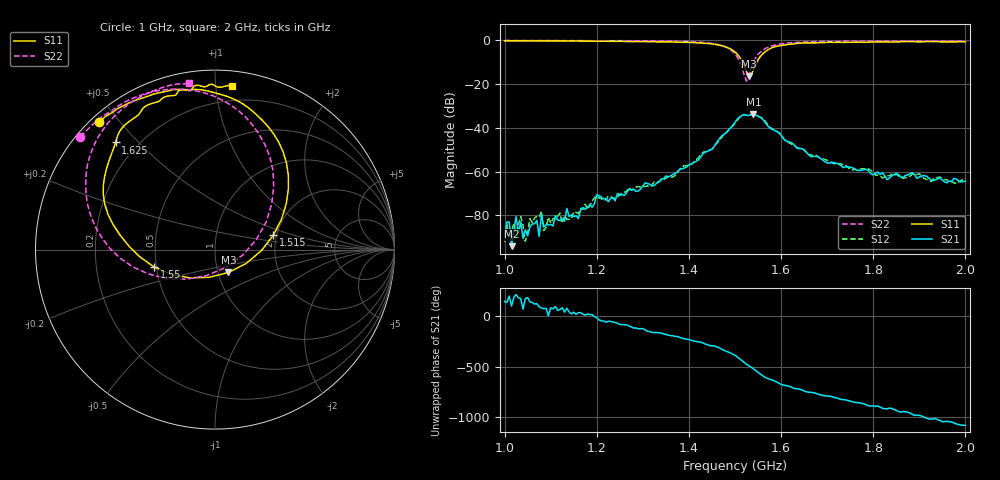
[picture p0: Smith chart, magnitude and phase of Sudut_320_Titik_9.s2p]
# Hz S RI R 50
! CMT, C1220, 16058040, 17.2.0/1
! Date: 14/08/2018 11:59:31
! Data: Format (Calibration Info)
! Freq  S11: Re/Im (F2)  S21: Re/Im (F2)  S12: Re/Im (F2)  S22: Re/Im (F2)
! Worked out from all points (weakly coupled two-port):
!   201 points, 1 GHz to 2 GHz, reference 50 ohm
!   highest |S21| = -33.95 dB at 1.54 GHz (marker M1); lowest = -94.0 dB at 1.015 GHz (marker M2)
!   lowest |S11| = -16.6 dB at 1.53 GHz (marker M3), VSWR 1.35, Z = 56.1 - j14.6 ohm
!   |S11| at or under -10 dB: 1.516 GHz to 1.548 GHz (31.51 MHz wide, 2.06 % of centre)
!   |S22| runs from -18.7 to -0.2 dB; largest |S21 - S12| = 0.0009
!   S11 on the Smith chart (normalised r, x): 1 GHz: 0.02, +0.44; 1.515 GHz: 1.92, +0.34; 1.55 GHz: 0.48, -0.11; 1.625 GHz: 0.12, +0.43; 2 GHz: 0.10, +1.10
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1e9  -0.6444 0.7125  -2.78e-05 2.06e-05  -2.08e-05 1.32e-05  -0.7501 0.6269
1.015e9  -0.6268 0.7256  -2.75e-06 1.98e-05  -4.45e-05 -3.81e-06  -0.7395 0.6384
1.13e9  -0.5106 0.8015  5.88e-05 4.49e-05  8.94e-05 4.17e-05  -0.6513 0.7232
1.135e9  -0.5046 0.8045  3.45e-05 0.000141  5.88e-05 5.74e-05  -0.6467 0.727
1.16e9  -0.4842 0.815  7.18e-05 4.57e-05  8.45e-05 7.34e-05  -0.623 0.7452
1.17e9  -0.4708 0.8209  0.000145 4.61e-05  0.000133 3.87e-05  -0.6124 0.7521
1.19e9  -0.4386 0.8334  0.00015 3.44e-05  0.00021 4.54e-05  -0.5888 0.7641
1.2e9  -0.4278 0.8364  0.000285 -8.41e-05  0.000244 -0.000141  -0.5783 0.7656
1.24e9  -0.3701 0.856  9.13e-05 -0.000196  0.000125 -0.000214  -0.5445 0.797
1.335e9  -0.213 0.8919  -0.00056 -0.000152  -0.00059 -9.93e-05  -0.3959 0.8659
1.45e9  0.1806 0.7941  0.00129 0.00295  0.00151 0.00291  0.0269 0.8396
1.5e9  0.4091 0.3411  0.0118 -0.00622  0.0111 -0.00587  0.3271 0.352
1.515e9  0.3245 0.0795  0.00319 -0.0187  0.00373 -0.0188  0.2314 0.0573
1.525e9  0.1741 -0.0769  -0.00858 -0.0172  -0.00857 -0.0174  0.0596 -0.0992
1.53e9  0.075 -0.1275  -0.0123 -0.0146  -0.0123 -0.0147  -0.0486 -0.1454
1.54e9  -0.1394 -0.1578  -0.0191 -0.00617  -0.0189 -0.0062  -0.2723 -0.161
1.55e9  -0.34 -0.0965  -0.0175 0.00529  -0.0177 0.00464  -0.4562 -0.0974
1.58e9  -0.6144 0.2537  0.000147 0.00924  0.000522 0.00956  -0.7017 0.2178
1.625e9  -0.5539 0.5967  0.00431 0.000979  0.00405 0.00106  -0.6967 0.5218
1.67e9  -0.4407 0.7399  0.00178 -0.00132  0.00192 -0.00135  -0.6204 0.6737
1.835e9  -0.146 0.8857  -0.000701 0.000109  -0.000774 0.000218  -0.3704 0.8733
2e9  0.0931 0.9119  0.000606 1.1e-06  0.000725 -2.78e-05  -0.147 0.9309
